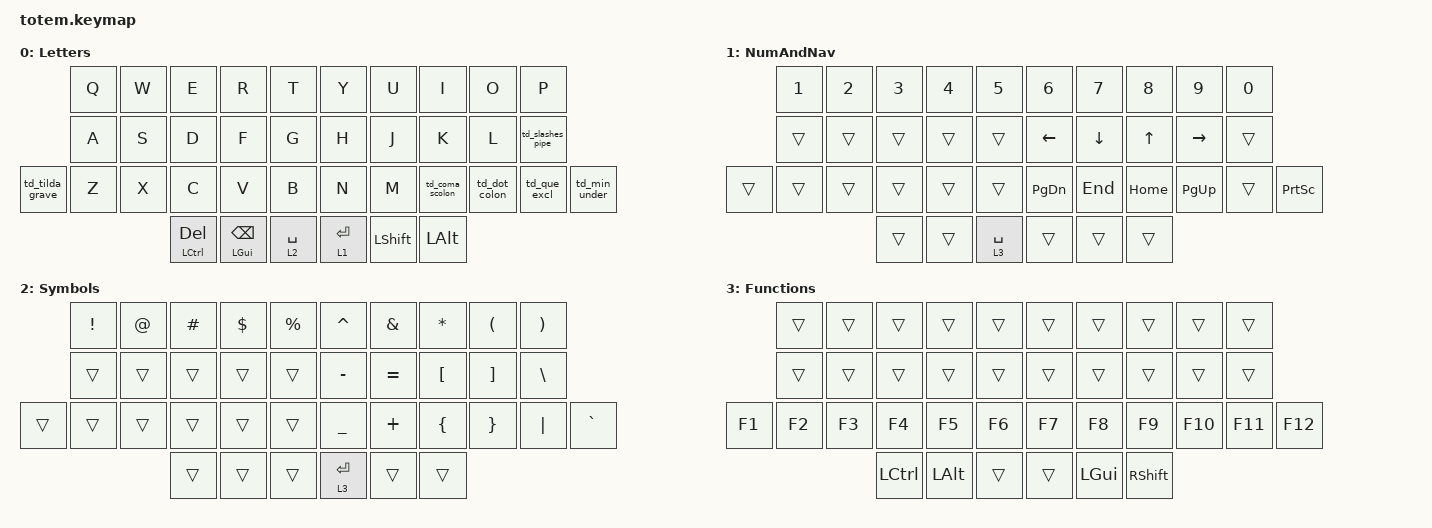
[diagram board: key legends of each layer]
//
//                                                        ▀▀▀▀▀     ▀▀▀▀▀          ▀▀█▀▀
//                                                        ▄▀▀▀▄  ▄  ▄▀▀▀▄  ▄  ▄▀▀▀▄  █  ▄▀▀▀▄
//                                                        █   █  █  █   █  █  █   █  █  █   █
//                                                         ▀▀▀   █   ▀▀▀   █   ▀▀▀   ▀   ▀▀▀
//                                                               █      ▄▄▄█▄▄▄    █   █  
//                                                               ▀      █  █  █     █▄█
//                                                             ▀▀▀▀▀    █  █  █      ▀
//                                                                      ▀  ▀  ▀
//
// ▄▄▄▄▄▄▄▄▄▄▄▄▄▄▄▄▄▄▄▄▄▄▄▄▄▄▄▄▄▄▄▄▄▄▄▄▄▄▄▄▄▄▄▄▄▄▄▄▄▄▄▄▄▄▄▄▄▄▄▄▄▄▄▄▄▄▄▄▄▄▄▄▄▄▄▄▄▄▄▄▄▄▄▄▄▄▄▄▄▄▄▄▄▄▄▄▄▄▄▄▄▄▄▄▄▄▄▄▄▄▄▄▄▄▄▄▄▄▄▄▄▄▄▄▄▄▄▄▄▄▄▄▄▄▄▄▄▄▄▄▄▄▄▄▄▄▄▄▄

#include <behaviors.dtsi>
#include <dt-bindings/zmk/keys.h>

#define ZMK_POINTING_DEFAULT_MOVE_VAL 1500
#define ZMK_POINTING_DEFAULT_SCRL_VAL 20
#define Base        0
#define Nav         1
#define Sym         2
#define Fun         3
#define Game        4
#define Gameplus    5

&mt {
    quick-tap-ms = <100>;
    global-quick-tap;
    flavor = "tap-preferred";
    tapping-term-ms = <200>;
};

/ {
    behaviors {
        td_dot_colon: td_dot_colon {
            compatible = "zmk,behavior-tap-dance";
            label = "TD_DOT_COLON";
            #binding-cells = <0>;
            bindings = <&kp PERIOD>, <&kp COLON>;

            tapping-term-ms = <270>;
        };

        td_coma_scolon: td_coma_scolon {
            compatible = "zmk,behavior-tap-dance";
            label = "TD_COMA_SCOLON";
            #binding-cells = <0>;
            bindings = <&kp COMMA>, <&kp SEMICOLON>;

            tapping-term-ms = <270>;
        };

        td_que_excl: td_que_excl {
            compatible = "zmk,behavior-tap-dance";
            label = "TD_QUE_EXCL";
            #binding-cells = <0>;
            bindings = <&kp QUESTION>, <&kp EXCLAMATION>;

            tapping-term-ms = <270>;
        };

        td_slashes_pipe: td_slashes_pipe {
            compatible = "zmk,behavior-tap-dance";
            label = "TD_SLASHES_PIPE";
            #binding-cells = <0>;
            bindings = <&kp SLASH>, <&kp PIPE>, <&kp BACKSLASH>;

            tapping-term-ms = <270>;
        };

        td_tilda_grave: td_tilda_grave {
            compatible = "zmk,behavior-tap-dance";
            label = "TD_TILDA_GRAVE";
            #binding-cells = <0>;
            bindings = <&kp TILDE>, <&kp GRAVE>;

            tapping-term-ms = <270>;
        };

        td_aa: td_aa {
            compatible = "zmk,behavior-tap-dance";
            label = "TD_AA";
            #binding-cells = <0>;
            bindings = <&kp A>, <&kp RA(A)>;

            tapping-term-ms = <270>;
        };

        td_ss: td_ss {
            compatible = "zmk,behavior-tap-dance";
            label = "TD_SS";
            #binding-cells = <0>;
            bindings = <&kp S>, <&kp RA(S)>;

            tapping-term-ms = <270>;
        };

        td_zz: td_zz {
            compatible = "zmk,behavior-tap-dance";
            label = "TD_ZZ";
            #binding-cells = <0>;
            bindings = <&kp Z>, <&kp RA(Z)>;

            tapping-term-ms = <270>;
        };

        td_xx: td_xx {
            compatible = "zmk,behavior-tap-dance";
            label = "TD_XX";
            #binding-cells = <0>;
            bindings = <&kp X>, <&kp RA(X)>;

            tapping-term-ms = <270>;
        };

        td_ee: td_ee {
            compatible = "zmk,behavior-tap-dance";
            label = "TD_EE";
            #binding-cells = <0>;
            bindings = <&kp E>, <&kp RA(E)>;

            tapping-term-ms = <270>;
        };

        td_cc: td_cc {
            compatible = "zmk,behavior-tap-dance";
            label = "TD_CC";
            #binding-cells = <0>;
            bindings = <&kp C>, <&kp RA(C)>;

            tapping-term-ms = <270>;
        };

        td_nn: td_nn {
            compatible = "zmk,behavior-tap-dance";
            label = "TD_NN";
            #binding-cells = <0>;
            bindings = <&kp N>, <&kp RA(N)>;

            tapping-term-ms = <270>;
        };

        td_oo: td_oo {
            compatible = "zmk,behavior-tap-dance";
            label = "TD_OO";
            #binding-cells = <0>;
            bindings = <&kp O>, <&kp RA(O)>;

            tapping-term-ms = <270>;
        };

        td_ll: td_ll {
            compatible = "zmk,behavior-tap-dance";
            label = "TD_LL";
            #binding-cells = <0>;
            bindings = <&kp L>, <&kp RA(L)>;

            tapping-term-ms = <270>;
        };

        td_min_under: td_min_under {
            compatible = "zmk,behavior-tap-dance";
            label = "TD_MIN_UNDER";
            #binding-cells = <0>;
            bindings = <&kp MINUS>, <&kp LS(MINUS)>;

            tapping-term-ms = <270>;
        };
    };

    combos {
        compatible = "zmk,combos";

        combo_esc {
            bindings = <&kp ESC>;
            key-positions = <0 1>;
        };

        combo_tab {
            bindings = <&kp TAB>;
            key-positions = <11 10>;
        };

        combo_parenth_left {
            bindings = <&kp LEFT_PARENTHESIS>;
            key-positions = <3 4>;
        };

        combo_parenth_right {
            bindings = <&kp RIGHT_PARENTHESIS>;
            key-positions = <6 5>;
        };

        combo_bracket_left {
            bindings = <&kp LEFT_BRACKET>;
            key-positions = <13 14>;
        };

        combo_bracket_right {
            bindings = <&kp RIGHT_BRACKET>;
            key-positions = <15 16>;
        };

        combo_curly_left {
            bindings = <&kp LEFT_BRACE>;
            key-positions = <24 25>;
        };

        combo_curly_right {
            bindings = <&kp RIGHT_BRACE>;
            key-positions = <26 27>;
        };

        combo_lt {
            bindings = <&kp LESS_THAN>;
            key-positions = <3 2>;
        };

        combo_gt {
            bindings = <&kp GREATER_THAN>;
            key-positions = <6 7>;
        };

        combo_caps {
            bindings = <&kp CAPS>;
            key-positions = <21 22>;
        };

        combo_caps_word {
            bindings = <&caps_word>;
            key-positions = <36 37>;
        };
    };

    keymap {
        compatible = "zmk,keymap";

        Letters {
            display-name = "Letters";
            bindings = <
                 &kp Q  &kp W  &kp E             &kp R                   &kp T          &kp Y        &kp U           &kp I            &kp O          &kp P
                 &kp A  &kp S  &kp D             &kp F                   &kp G          &kp H        &kp J           &kp K            &kp L          &td_slashes_pipe
&td_tilda_grave  &kp Z  &kp X  &kp C             &kp V                   &kp B          &kp N        &kp M           &td_coma_scolon  &td_dot_colon  &td_que_excl      &td_min_under
                               &mt LCTRL DELETE  &mt LEFT_GUI BACKSPACE  &lt 2 SPACE    &lt 1 ENTER  &kp LEFT_SHIFT  &kp LEFT_ALT
            >;
        };

        NumAndNav {
            display-name = "NumAndNav";
            bindings = <
        &kp N1  &kp N2  &kp N3  &kp N4  &kp N5         &kp NUMBER_6   &kp N7    &kp N8    &kp N9       &kp N0
        &trans  &trans  &trans  &trans  &trans         &kp LEFT       &kp DOWN  &kp UP    &kp RIGHT    &trans
&trans  &trans  &trans  &trans  &trans  &trans         &kp PAGE_DOWN  &kp END   &kp HOME  &kp PAGE_UP  &trans  &kp PRINTSCREEN
                        &trans  &trans  &lt 3 SPACE    &trans         &trans    &trans
            >;
        };

        Symbols {
            display-name = "Symbols";
            bindings = <
        &kp EXCL  &kp AT  &kp HASH  &kp DOLLAR  &kp PERCENT    &kp CARET    &kp AMPERSAND  &kp ASTRK  &kp LPAR  &kp RPAR
        &trans    &trans  &trans    &trans      &trans         &kp MINUS    &kp EQUAL      &kp LBKT   &kp RBKT  &kp BSLH
&trans  &trans    &trans  &trans    &trans      &trans         &kp UNDER    &kp PLUS       &kp LBRC   &kp RBRC  &kp PIPE  &kp GRAVE
                          &trans    &trans      &trans         &lt 3 ENTER  &trans         &trans
            >;
        };

        Functions {
            bindings = <
        &trans  &trans  &trans     &trans        &trans    &trans  &trans        &trans      &trans   &trans
        &trans  &trans  &trans     &trans        &trans    &trans  &trans        &trans      &trans   &trans
&kp F1  &kp F2  &kp F3  &kp F4     &kp F5        &kp F6    &kp F7  &kp F8        &kp F9      &kp F10  &kp F11  &kp F12
                        &kp LCTRL  &kp LEFT_ALT  &trans    &trans  &kp LEFT_GUI  &kp RSHIFT
            >;

            label = "Functions";
        };
    };
};
